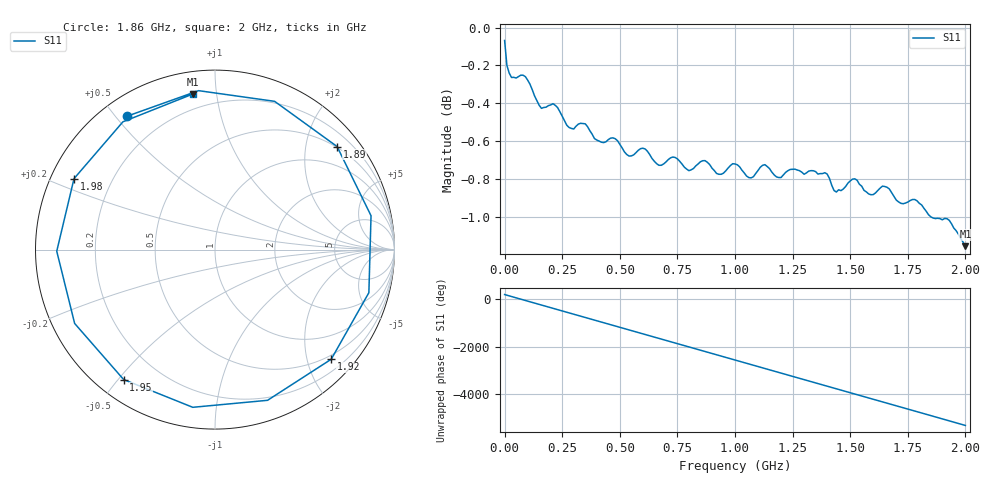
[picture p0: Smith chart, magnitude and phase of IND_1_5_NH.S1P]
!Agilent Technologies,E5071C,MY46520295,B.13.20
!Date: Fri Feb 09 07:04:44 2024
!Data & Calibration Information:
!Freq	S11:NONE(--)
!PortZ  Port1:50+j0
!Above PortZ is port z conversion or system Z0 setting when saving the data.
!When reading, reference impedance value at option line is always used.
# Hz S RI R 50
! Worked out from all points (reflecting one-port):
!   201 points, 300 kHz to 2 GHz, reference 50 ohm
!   lowest |S11| = -1.2 dB at 2 GHz (marker M1), VSWR 15.05, Z = 5.8 + j43 ohm
!   phase of S11 starts at 179 deg and turns -5481 deg over the sweep
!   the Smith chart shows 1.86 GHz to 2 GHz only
!   S11 on the Smith chart (normalised r, x): 1.86 GHz: 0.07, +0.54; 1.89 GHz: 0.48, +2.66; 1.92 GHz: 0.42, -2.46; 1.95 GHz: 0.08, -0.52; 1.98 GHz: 0.07, +0.24; 2 GHz: 0.12, +0.86
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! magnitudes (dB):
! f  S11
! 300 kHz  -0.1
! 10.3 MHz  -0.2
! 30.29 MHz  -0.3
! 90.27 MHz  -0.3
! 160.3 MHz  -0.4
! 210.2 MHz  -0.4
! 250.2 MHz  -0.5
! 500.1 MHz  -0.6
! 540.1 MHz  -0.7
! 610.1 MHz  -0.6
! 670.1 MHz  -0.7
! 750.1 MHz  -0.7
! 930 MHz  -0.8
! 1 GHz  -0.7
! 1.07 GHz  -0.8
! 1.13 GHz  -0.7
! 1.19 GHz  -0.8
! 1.25 GHz  -0.7
! 1.39 GHz  -0.8
! 1.44 GHz  -0.9
! 1.5 GHz  -0.8
! 1.75 GHz  -0.9
! 1.86 GHz  -1.0
! 1.89 GHz  -1.0
! 1.92 GHz  -1.0
! 1.95 GHz  -1.1
! 1.98 GHz  -1.1
! 2 GHz  -1.2
